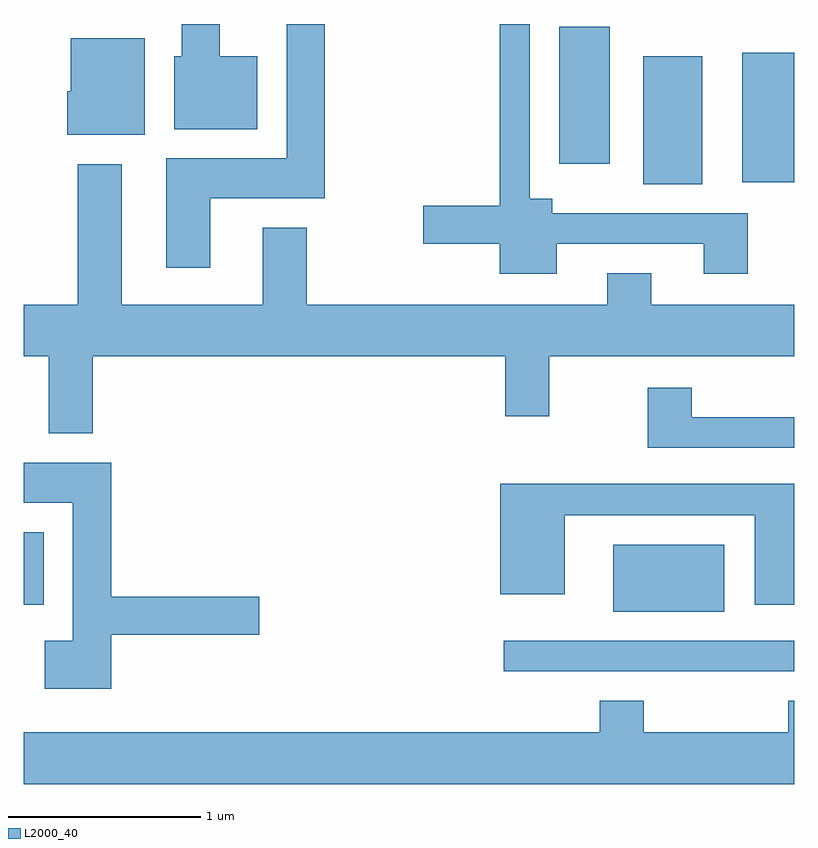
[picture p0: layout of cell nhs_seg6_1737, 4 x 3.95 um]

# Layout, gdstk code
import gdstk
lib = gdstk.Library(unit=1e-6, precision=1e-09)
def R(c, l, rs):  # rectangles x0, y0, x1, y1
    for r in rs: c.add(gdstk.rectangle(r[:2], r[2:], *l))
def P(c, l, *ps):  # polygons
    for p in ps: c.add(gdstk.Polygon(p, *l))
L2000_40 = (2000, 40)

nhs_seg6_1737 = lib.new_cell('nhs_seg6_1737')
R(nhs_seg6_1737, L2000_40, [(240.103,1592.801,241.611,1592.959), (240.671,1593.111,241.249,1593.459), (237.611,1593.146,237.714,1593.524), (240.826,1595.331,241.134,1595.994), (241.341,1595.341,241.611,1596.014), (240.391,1595.436,240.654,1596.149)])
P(nhs_seg6_1737, L2000_40, [(238.824,1595.994),(238.629,1595.994),(238.629,1596.162),(238.431,1596.162),(238.431,1595.994),(238.391,1595.994),(238.391,1595.616),(238.824,1595.616)],
  [(238.579,1595.256),(239.174,1595.256),(239.174,1596.162),(238.976,1596.162),(238.976,1595.464),(238.351,1595.464),(238.351,1594.896),(238.579,1594.896)],
  [(240.379,1595.021),(241.141,1595.021),(241.141,1594.866),(241.369,1594.866),(241.369,1595.179),(240.354,1595.179),(240.354,1595.254),(240.239,1595.254),(240.239,1596.162),(240.081,1596.162),(240.081,1595.219),(239.686,1595.219),(239.686,1595.021),(240.081,1595.021),(240.081,1594.866),(240.379,1594.866)],
  [(238.239,1596.089),(237.856,1596.089),(237.856,1595.814),(237.836,1595.814),(237.836,1595.586),(238.239,1595.586)],
  [(237.969,1594.436),(240.111,1594.436),(240.111,1594.126),(240.339,1594.126),(240.339,1594.436),(241.611,1594.436),(241.611,1594.704),(240.869,1594.704),(240.869,1594.869),(240.641,1594.869),(240.641,1594.704),(239.079,1594.704),(239.079,1595.104),(238.851,1595.104),(238.851,1594.704),(238.119,1594.704),(238.119,1595.434),(237.891,1595.434),(237.891,1594.704),(237.611,1594.704),(237.611,1594.436),(237.741,1594.436),(237.741,1594.036),(237.969,1594.036)],
  [(241.611,1594.119),(241.079,1594.119),(241.079,1594.274),(240.851,1594.274),(240.851,1593.961),(241.611,1593.961)],
  [(238.064,1592.991),(238.834,1592.991),(238.834,1593.189),(238.064,1593.189),(238.064,1593.884),(237.611,1593.884),(237.611,1593.676),(237.866,1593.676),(237.866,1592.959),(237.721,1592.959),(237.721,1592.711),(238.064,1592.711)],
  [(241.611,1593.774),(240.086,1593.774),(240.086,1593.201),(240.419,1593.201),(240.419,1593.611),(241.406,1593.611),(241.406,1593.146),(241.611,1593.146)],
  [(241.611,1592.649),(241.581,1592.649),(241.581,1592.484),(240.829,1592.484),(240.829,1592.649),(240.601,1592.649),(240.601,1592.484),(237.611,1592.484),(237.611,1592.216),(241.611,1592.216)])

lib.write_gds('nhs_seg6_1737.gds')
